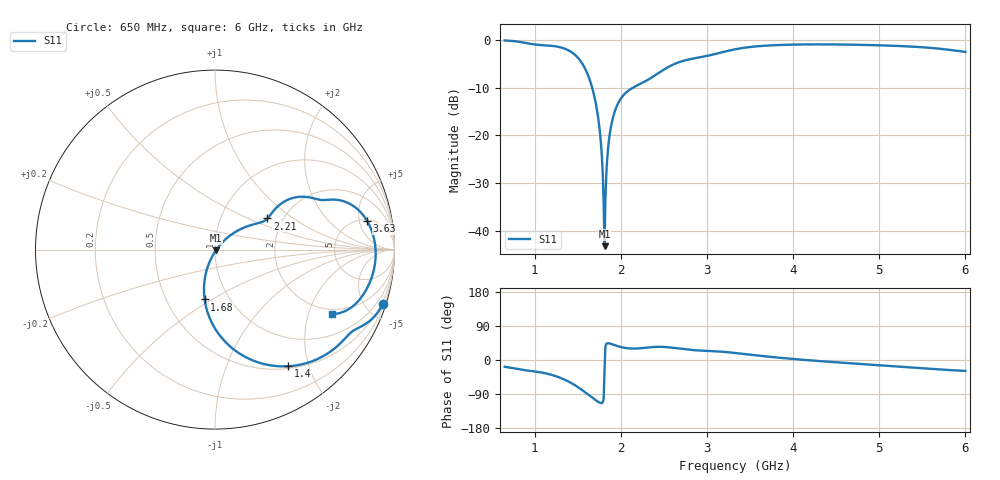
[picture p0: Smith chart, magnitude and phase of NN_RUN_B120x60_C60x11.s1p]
! IGNION VIRTUAL ANTENNA LIBRARY
! NN_RUN_B120x60_C60x11
! Virtual Antenna™ RUN mXTEND™: NN02-224 12.0 mm x 3.0 mm x 2.4 mm
! https://ignion.io/product/run-mxtend/
! Board: 120 mm x 60 mm
! Clearance Area: 60 mm x 11 mm
! Feeding line: L-shape; 11mm x 2mm and 5mm x 2mm
! Applications: Smartphone, Fleet management, IoT
! Frequency range 0.65GHz to 6GHz, step 10MHz
! Number of ports 1
! This product and its use is protected by at least one or more of the following patents and patent
! applications US 8,203,492 B2; US 8,237,615 B2; PCT/EP2013/064692; WO 2014/012842 A1; US 2019/190122 A1;
! US 62/072,671; and other domestic and international patents pending. Additional information about
! patents related to this product is available at https://ignion.io/files/Patent-list-NN.pdf, all
! rights reserved. Copyright, Ignion 2021.
! Need more help? Your platform is much different than these examples in the manual? Use our
! Fast Track service (https://ignion.io/fast-track/), for free, and get a personalized antenna design in
! just 24 hours.
! Touchstone port 1 = "Series Port"
! IE3D S-Parameters Output Version 2.0
# GHZ S MA R 50
! Nport = 1
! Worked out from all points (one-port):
!   536 points, 650 MHz to 6 GHz, reference 50 ohm
!   lowest |S11| = -43.2 dB at 1.81 GHz (marker M1), VSWR 1.01, Z = 50.6 - j0.322 ohm
!   |S11| at or under -10 dB: 1.666 GHz to 2.143 GHz (476.9 MHz wide, 25 % of centre)
!   S11 on the Smith chart (normalised r, x): 650 MHz: 0.33, -6.38; 1.4 GHz: 0.53, -1.69; 1.68 GHz: 0.77, -0.46; 2.21 GHz: 1.67, +0.65; 3.63 GHz: 5.21, +6.52; 6 GHz: 1.78, -2.89
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0.65  0.9845 -17.8
1.15  0.8728 -36.4
1.32  0.8233 -49.2
1.4  0.768 -57.8
1.54  0.5847 -77.7
1.62  0.4227 -91.3
1.68  0.2837 -101.7
1.72  0.19 -108.2
1.75  0.1223 -112.1
1.77  0.07922 -113.6
1.79  0.03847 -111.4
1.8  0.01944 -102.6
1.81  0.006895 -27.5
1.82  0.02046 34.4
1.83  0.03769 42.1
1.84  0.05461 44.0
1.85  0.07095 44.4
1.88  0.1162 42.9
1.93  0.1788 39.0
1.99  0.235 34.8
2.21  0.3398 30.7
2.66  0.5764 30.7
3.33  0.7967 18.5
3.63  0.862 10.8
4  0.8906 2.7
4.67  0.8897 -8.8
5.34  0.8521 -19.1
6  0.7465 -28.8
